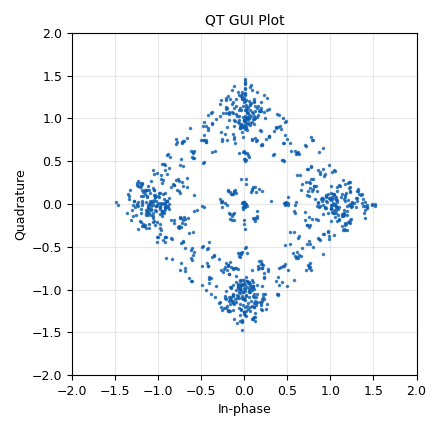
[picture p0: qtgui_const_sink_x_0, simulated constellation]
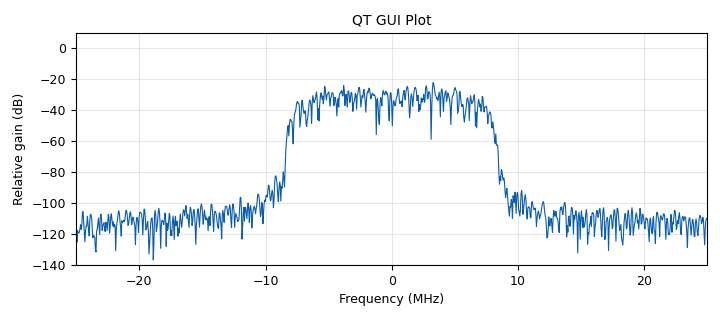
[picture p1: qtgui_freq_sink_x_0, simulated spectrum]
<?xml version='1.0' encoding='utf-8'?>
<flow_graph>
<block>
<key>options</key>
<param><key>id</key><value>mpsk_demod</value></param>
<param><key>title</key><value>MPSK Demod Demo</value></param>
<param><key>generate_options</key><value>qt_gui</value></param>
<param><key>category</key><value>Custom</value></param>
</block>
<block>
<key>variable</key>
<param><key>id</key><value>samps_per_sym</value></param>
<param><key>value</key><value>4</value></param>
</block>
<block>
<key>variable</key>
<param><key>id</key><value>samp_rate</value></param>
<param><key>value</key><value>50000000</value></param>
</block>
<block>
<key>qtgui_const_sink_x</key>
<param><key>id</key><value>qtgui_const_sink_x_0</value></param>
<param><key>type</key><value>complex</value></param>
<param><key>name</key><value>QT GUI Plot</value></param>
<param><key>size</key><value>1024</value></param>
<param><key>gui_hint</key><value>notebook@0</value></param>
</block>
<block>
<key>qtgui_freq_sink_x</key>
<param><key>id</key><value>qtgui_freq_sink_x_0</value></param>
<param><key>type</key><value>complex</value></param>
<param><key>name</key><value>QT GUI Plot</value></param>
<param><key>fftsize</key><value>1024</value></param>
<param><key>wintype</key><value>firdes.WIN_BLACKMAN_hARRIS</value></param>
<param><key>fc</key><value>0</value></param>
<param><key>bw</key><value>samp_rate</value></param>
<param><key>gui_hint</key><value>notebook@1</value></param>
</block>
<block>
<key>qtgui_tab_widget</key>
<param><key>id</key><value>notebook</value></param>
<param><key>num_tabs</key><value>2</value></param>
<param><key>label0</key><value>Constellation</value></param>
<param><key>label1</key><value>Spectrum</value></param>
</block>
<block>
<key>analog_random_source_x</key>
<param><key>id</key><value>analog_random_source_x_0</value></param>
<param><key>type</key><value>byte</value></param>
<param><key>min</key><value>0</value></param>
<param><key>max</key><value>2**8</value></param>
<param><key>num_samps</key><value>1000000</value></param>
<param><key>repeat</key><value>True</value></param>
</block>
<block>
<key>digital_dxpsk_mod</key>
<param><key>id</key><value>digital_dxpsk_mod_0</value></param>
<param><key>type</key><value>dqpsk</value></param>
<param><key>samples_per_symbol</key><value>samps_per_sym</value></param>
<param><key>excess_bw</key><value>0.35</value></param>
<param><key>mod_code</key><value>"gray"</value></param>
<param><key>verbose</key><value>False</value></param>
<param><key>log</key><value>False</value></param>
</block>
<block>
<key>blocks_throttle</key>
<param><key>id</key><value>blocks_throttle_0</value></param>
<param><key>type</key><value>complex</value></param>
<param><key>samples_per_second</key><value>samp_rate</value></param>
</block>
<block>
<key>blks2_tcp_sink</key>
<param><key>id</key><value>blks2_tcp_sink_0</value></param>
<param><key>type</key><value>complex</value></param>
<param><key>addr</key><value>127.0.0.1</value></param>
<param><key>port</key><value>3305</value></param>
<param><key>server</key><value>True</value></param>
<param><key>vlen</key><value>1</value></param>
</block>
<connection><source_block_id>analog_random_source_x_0</source_block_id><sink_block_id>digital_dxpsk_mod_0</sink_block_id><source_key>0</source_key><sink_key>0</sink_key></connection>
<connection><source_block_id>blocks_throttle_0</source_block_id><sink_block_id>qtgui_freq_sink_x_0</sink_block_id><source_key>0</source_key><sink_key>0</sink_key></connection>
<connection><source_block_id>digital_dxpsk_mod_0</source_block_id><sink_block_id>blocks_throttle_0</sink_block_id><source_key>0</source_key><sink_key>0</sink_key></connection>
<connection><source_block_id>blocks_throttle_0</source_block_id><sink_block_id>qtgui_const_sink_x_0</sink_block_id><source_key>0</source_key><sink_key>0</sink_key></connection>
<connection><source_block_id>blocks_throttle_0</source_block_id><sink_block_id>blks2_tcp_sink_0</sink_block_id><source_key>0</source_key><sink_key>0</sink_key></connection>
</flow_graph>
